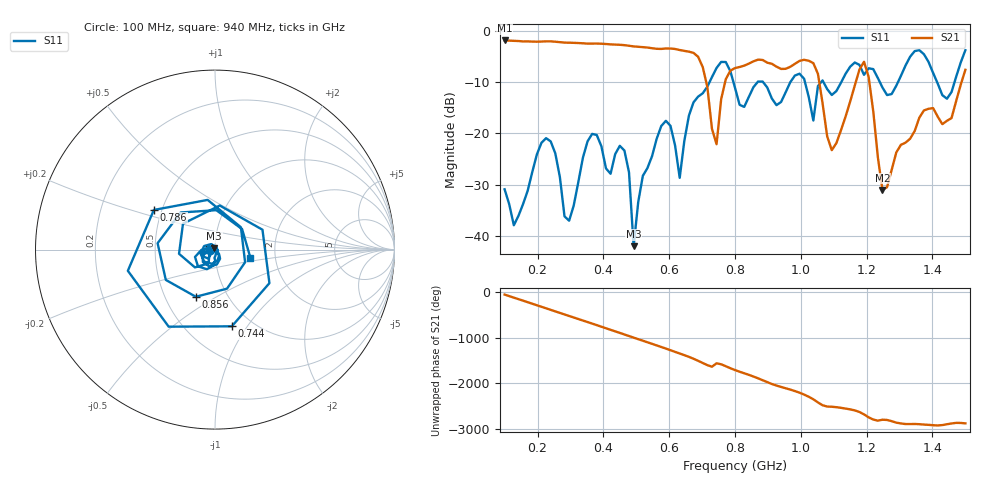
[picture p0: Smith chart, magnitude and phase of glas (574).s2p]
! NanoVNA-App
! Date: 2025-09-25 15:59:56
! Start: 100MHz Stop: 1,5GHz Points: 101
! S-Parameter data: F S11 S21 S12 S22
# Hz S RI R 50
!  Frequency  S11_Real  S11_Imag  S21_Real  S21_Imag  S12_Real  S12_Imag  S22_Real  S22_Imag
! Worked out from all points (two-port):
!   101 points, 100 MHz to 1.5 GHz, reference 50 ohm
!   highest |S21| = -1.80 dB at 100 MHz (marker M1); lowest = -31.1 dB at 1.248 GHz (marker M2)
!   |S21| within 3 dB of the highest: start of sweep to 684.4 MHz
!   lowest |S11| = -42.1 dB at 492 MHz (marker M3), VSWR 1.02, Z = 49.5 + j0.608 ohm
!   |S11| at or under -10 dB: start of sweep to 722.3 MHz; 795.4 MHz to 868 MHz (72.62 MHz wide, 8.73 % of centre); 885.8 MHz to 967.8 MHz (81.96 MHz wide, 8.84 % of centre) (the widest 3 of 7)
!   S12 and S22 are empty: the file has one direction only
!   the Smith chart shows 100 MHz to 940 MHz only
!   S11 on the Smith chart (normalised r, x): 100 MHz: 0.95, -0.01; 744 MHz: 0.81, -0.85; 786 MHz: 0.45, +0.24; 856 MHz: 0.71, -0.41; 940 MHz: 1.48, -0.14
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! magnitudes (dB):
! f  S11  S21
! 100 MHz  -30.9  -1.8
! 128 MHz  -38.0  -1.9
! 226 MHz  -20.9  -2.0
! 296 MHz  -37.1  -2.2
! 338 MHz  -24.7  -2.4
! 464 MHz  -23.3  -2.7
! 492 MHz  -42.1  -3.0
! 576 MHz  -18.5  -3.5
! 632 MHz  -28.7  -3.7
! 702 MHz  -12.1  -7.0
! 744 MHz  -7.2  -22.1
! 786 MHz  -7.8  -7.7
! 800 MHz  -11.1  -7.2
! 856 MHz  -10.9  -5.9
! 940 MHz  -13.8  -7.4
! 996 MHz  -8.3  -5.8
! 1.038 GHz  -17.5  -6.2
! 1.094 GHz  -12.5  -23.3
! 1.192 GHz  -8.5  -6.0
! 1.248 GHz  -11.0  -31.1
! 1.276 GHz  -12.3  -27.1
! 1.5 GHz  -3.7  -7.5
